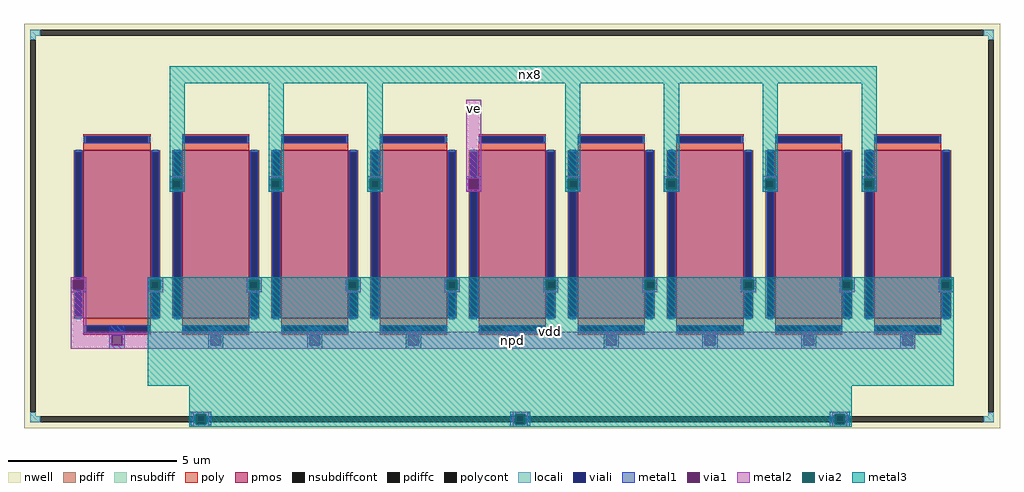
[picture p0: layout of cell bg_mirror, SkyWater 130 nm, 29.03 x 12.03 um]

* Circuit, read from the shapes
.subckt bg_mirror vdd npd ve nx8
XM1 vdd npd npd vdd sky130_fd_pr__pfet_01v8 w=5 l=2
XM2 vdd npd nx8 vdd sky130_fd_pr__pfet_01v8 w=5 l=2 m=7
XM3 vdd npd ve vdd sky130_fd_pr__pfet_01v8 w=5 l=2
.ends

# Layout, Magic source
magic
tech sky130A
magscale 1 2
<< viali >>
rect 455 -1117 545 -1083
rect 2355 -1117 2445 -1083
rect 4255 -1117 4345 -1083
<< metal1 >>
rect 314 330 404 345
rect 314 270 329 330
rect 389 270 404 330
rect 314 255 404 270
rect 902 330 992 345
rect 902 270 917 330
rect 977 270 992 330
rect 902 255 992 270
rect 1490 330 1580 345
rect 1490 270 1505 330
rect 1565 270 1580 330
rect 1490 255 1580 270
rect 2078 330 2168 345
rect 2078 270 2093 330
rect 2153 270 2168 330
rect 2078 255 2168 270
rect 2666 330 2756 345
rect 2666 270 2681 330
rect 2741 270 2756 330
rect 2666 255 2756 270
rect 3254 330 3344 345
rect 3254 270 3269 330
rect 3329 270 3344 330
rect 3254 255 3344 270
rect 3842 330 3932 345
rect 3842 270 3857 330
rect 3917 270 3932 330
rect 3842 255 3932 270
rect 4430 330 4520 345
rect 4430 270 4445 330
rect 4505 270 4520 330
rect 4430 255 4520 270
rect -274 -270 -184 -255
rect -274 -330 -259 -270
rect -199 -330 -184 -270
rect -274 -345 -184 -330
rect 184 -270 274 -255
rect 184 -330 199 -270
rect 259 -330 274 -270
rect 184 -345 274 -330
rect 772 -270 862 -255
rect 772 -330 787 -270
rect 847 -330 862 -270
rect 772 -345 862 -330
rect 1360 -270 1450 -255
rect 1360 -330 1375 -270
rect 1435 -330 1450 -270
rect 1360 -345 1450 -330
rect 1948 -270 2038 -255
rect 1948 -330 1963 -270
rect 2023 -330 2038 -270
rect 1948 -345 2038 -330
rect 2536 -270 2626 -255
rect 2536 -330 2551 -270
rect 2611 -330 2626 -270
rect 2536 -345 2626 -330
rect 3124 -270 3214 -255
rect 3124 -330 3139 -270
rect 3199 -330 3214 -270
rect 3124 -345 3214 -330
rect 3712 -270 3802 -255
rect 3712 -330 3727 -270
rect 3787 -330 3802 -270
rect 3712 -345 3802 -330
rect 4300 -270 4390 -255
rect 4300 -330 4315 -270
rect 4375 -330 4390 -270
rect 4300 -345 4390 -330
rect 4888 -270 4978 -255
rect 4888 -330 4903 -270
rect 4963 -330 4978 -270
rect 4888 -345 4978 -330
rect -45 -600 45 -541
rect -45 -660 -30 -600
rect 30 -660 45 -600
rect -45 -680 45 -660
rect 543 -600 633 -541
rect 543 -660 558 -600
rect 618 -660 633 -600
rect 543 -680 633 -660
rect 1131 -600 1221 -541
rect 1131 -660 1146 -600
rect 1206 -660 1221 -600
rect 1131 -680 1221 -660
rect 1719 -600 1809 -541
rect 1719 -660 1734 -600
rect 1794 -660 1809 -600
rect 1719 -680 1809 -660
rect 2307 -600 2397 -541
rect 2307 -660 2322 -600
rect 2382 -660 2397 -600
rect 2307 -680 2397 -660
rect 2895 -600 2985 -541
rect 2895 -660 2910 -600
rect 2970 -660 2985 -600
rect 2895 -680 2985 -660
rect 3483 -600 3573 -541
rect 3483 -660 3498 -600
rect 3558 -660 3573 -600
rect 3483 -680 3573 -660
rect 4071 -600 4161 -541
rect 4071 -660 4086 -600
rect 4146 -660 4161 -600
rect 4071 -680 4161 -660
rect 4659 -600 4749 -541
rect 4659 -660 4674 -600
rect 4734 -660 4749 -600
rect 4659 -680 4749 -660
rect 440 -1070 560 -1055
rect 440 -1083 470 -1070
rect 530 -1083 560 -1070
rect 440 -1117 455 -1083
rect 545 -1117 560 -1083
rect 440 -1130 470 -1117
rect 530 -1130 560 -1117
rect 440 -1145 560 -1130
rect 2340 -1070 2460 -1055
rect 2340 -1083 2370 -1070
rect 2430 -1083 2460 -1070
rect 2340 -1117 2355 -1083
rect 2445 -1117 2460 -1083
rect 2340 -1130 2370 -1117
rect 2430 -1130 2460 -1117
rect 2340 -1145 2460 -1130
rect 4240 -1070 4360 -1055
rect 4240 -1083 4270 -1070
rect 4330 -1083 4360 -1070
rect 4240 -1117 4255 -1083
rect 4345 -1117 4360 -1083
rect 4240 -1130 4270 -1117
rect 4330 -1130 4360 -1117
rect 4240 -1145 4360 -1130
<< via1 >>
rect 329 270 389 330
rect 917 270 977 330
rect 1505 270 1565 330
rect 2093 270 2153 330
rect 2681 270 2741 330
rect 3269 270 3329 330
rect 3857 270 3917 330
rect 4445 270 4505 330
rect -259 -330 -199 -270
rect 199 -330 259 -270
rect 787 -330 847 -270
rect 1375 -330 1435 -270
rect 1963 -330 2023 -270
rect 2551 -330 2611 -270
rect 3139 -330 3199 -270
rect 3727 -330 3787 -270
rect 4315 -330 4375 -270
rect 4903 -330 4963 -270
rect -30 -660 30 -600
rect 558 -660 618 -600
rect 1146 -660 1206 -600
rect 1734 -660 1794 -600
rect 2322 -660 2382 -600
rect 2910 -660 2970 -600
rect 3498 -660 3558 -600
rect 4086 -660 4146 -600
rect 4674 -660 4734 -600
rect 470 -1083 530 -1070
rect 470 -1117 530 -1083
rect 470 -1130 530 -1117
rect 2370 -1083 2430 -1070
rect 2370 -1117 2430 -1083
rect 2370 -1130 2430 -1117
rect 4270 -1083 4330 -1070
rect 4270 -1117 4330 -1083
rect 4270 -1130 4330 -1117
<< metal2 >>
rect 314 330 404 345
rect 314 270 329 330
rect 389 270 404 330
rect 314 255 404 270
rect 902 330 992 345
rect 902 270 917 330
rect 977 270 992 330
rect 902 255 992 270
rect 1490 330 1580 345
rect 1490 270 1505 330
rect 1565 270 1580 330
rect 1490 255 1580 270
rect 2078 330 2168 800
rect 2078 270 2093 330
rect 2153 270 2168 330
rect 2078 255 2168 270
rect 2666 330 2756 345
rect 2666 270 2681 330
rect 2741 270 2756 330
rect 2666 255 2756 270
rect 3254 330 3344 345
rect 3254 270 3269 330
rect 3329 270 3344 330
rect 3254 255 3344 270
rect 3842 330 3932 345
rect 3842 270 3857 330
rect 3917 270 3932 330
rect 3842 255 3932 270
rect 4430 330 4520 345
rect 4430 270 4445 330
rect 4505 270 4520 330
rect 4430 255 4520 270
rect -274 -270 -184 -255
rect -274 -330 -259 -270
rect -199 -330 -184 -270
rect -274 -580 -184 -330
rect 184 -270 274 -255
rect 184 -330 199 -270
rect 259 -330 274 -270
rect 184 -345 274 -330
rect 772 -270 862 -255
rect 772 -330 787 -270
rect 847 -330 862 -270
rect 772 -345 862 -330
rect 1360 -270 1450 -255
rect 1360 -330 1375 -270
rect 1435 -330 1450 -270
rect 1360 -345 1450 -330
rect 1948 -270 2038 -255
rect 1948 -330 1963 -270
rect 2023 -330 2038 -270
rect 1948 -345 2038 -330
rect 2536 -270 2626 -255
rect 2536 -330 2551 -270
rect 2611 -330 2626 -270
rect 2536 -345 2626 -330
rect 3124 -270 3214 -255
rect 3124 -330 3139 -270
rect 3199 -330 3214 -270
rect 3124 -345 3214 -330
rect 3712 -270 3802 -255
rect 3712 -330 3727 -270
rect 3787 -330 3802 -270
rect 3712 -345 3802 -330
rect 4300 -270 4390 -255
rect 4300 -330 4315 -270
rect 4375 -330 4390 -270
rect 4300 -345 4390 -330
rect 4888 -270 4978 -255
rect 4888 -330 4903 -270
rect 4963 -330 4978 -270
rect 4888 -345 4978 -330
rect -274 -600 4749 -580
rect -274 -660 -30 -600
rect 30 -660 558 -600
rect 618 -660 1146 -600
rect 1206 -660 1734 -600
rect 1794 -660 2322 -600
rect 2382 -660 2910 -600
rect 2970 -660 3498 -600
rect 3558 -660 4086 -600
rect 4146 -660 4674 -600
rect 4734 -660 4749 -600
rect -274 -680 4749 -660
rect 455 -1070 545 -1055
rect 455 -1130 470 -1070
rect 530 -1130 545 -1070
rect 455 -1145 545 -1130
rect 2355 -1070 2445 -1055
rect 2355 -1130 2370 -1070
rect 2430 -1130 2445 -1070
rect 2355 -1145 2445 -1130
rect 4255 -1070 4345 -1055
rect 4255 -1130 4270 -1070
rect 4330 -1130 4345 -1070
rect 4255 -1145 4345 -1130
<< via2 >>
rect 329 270 389 330
rect 917 270 977 330
rect 1505 270 1565 330
rect 2681 270 2741 330
rect 3269 270 3329 330
rect 3857 270 3917 330
rect 4445 270 4505 330
rect 199 -330 259 -270
rect 787 -330 847 -270
rect 1375 -330 1435 -270
rect 1963 -330 2023 -270
rect 2551 -330 2611 -270
rect 3139 -330 3199 -270
rect 3727 -330 3787 -270
rect 4315 -330 4375 -270
rect 4903 -330 4963 -270
rect 470 -1130 530 -1070
rect 2370 -1130 2430 -1070
rect 4270 -1130 4330 -1070
<< metal3 >>
rect 314 900 4520 1000
rect 314 330 404 900
rect 314 270 329 330
rect 389 270 404 330
rect 314 255 404 270
rect 902 330 992 900
rect 902 270 917 330
rect 977 270 992 330
rect 902 255 992 270
rect 1490 330 1580 900
rect 1490 270 1505 330
rect 1565 270 1580 330
rect 1490 255 1580 270
rect 2666 330 2756 900
rect 2666 270 2681 330
rect 2741 270 2756 330
rect 2666 255 2756 270
rect 3254 330 3344 900
rect 3254 270 3269 330
rect 3329 270 3344 330
rect 3254 255 3344 270
rect 3842 330 3932 900
rect 3842 270 3857 330
rect 3917 270 3932 330
rect 3842 255 3932 270
rect 4430 330 4520 900
rect 4430 270 4445 330
rect 4505 270 4520 330
rect 4430 255 4520 270
rect 184 -270 4978 -255
rect 184 -330 199 -270
rect 259 -330 787 -270
rect 847 -330 1375 -270
rect 1435 -330 1963 -270
rect 2023 -330 2551 -270
rect 2611 -330 3139 -270
rect 3199 -330 3727 -270
rect 3787 -330 4315 -270
rect 4375 -330 4903 -270
rect 4963 -330 4978 -270
rect 184 -900 4978 -330
rect 430 -1070 4370 -900
rect 430 -1130 470 -1070
rect 530 -1130 2370 -1070
rect 2430 -1130 4270 -1070
rect 4330 -1130 4370 -1070
rect 430 -1145 4370 -1130
use unit_p5_l2  u_A4
transform 1 0 2352 0 1 0
box -294 -600 294 600
use unit_p5_l2  u_B1
transform 1 0 588 0 1 0
box -294 -600 294 600
use unit_p5_l2  u_B2
transform 1 0 1176 0 1 0
box -294 -600 294 600
use unit_p5_l2  u_B3
transform 1 0 1764 0 1 0
box -294 -600 294 600
use unit_p5_l2  u_B5
transform 1 0 2940 0 1 0
box -294 -600 294 600
use unit_p5_l2  u_B6
transform 1 0 3528 0 1 0
box -294 -600 294 600
use unit_p5_l2  u_B7
transform 1 0 4116 0 1 0
box -294 -600 294 600
use unit_p5_l2  u_B8
transform 1 0 4704 0 1 0
box -294 -600 294 600
use unit_p5_l2  u_D0
transform 1 0 0 0 1 0
box -294 -600 294 600
use nwell_ring_bg  u_ring
transform 1 0 0 0 1 0
box -553 -1153 5253 1253
<< labels >>
rlabel metal3 2581 -578 2581 -578 0 vdd
port 1 nsew
rlabel metal2 2352 -630 2352 -630 0 npd
port 2 nsew
rlabel metal2 2123 750 2123 750 0 ve
port 3 nsew
rlabel metal3 2459 950 2459 950 0 nx8
port 4 nsew
<< end >>

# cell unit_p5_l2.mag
magic
tech sky130A
magscale 1 2
<< nwell >>
rect -294 -600 294 600
<< pmos >>
rect -200 -500 200 500
<< pdiff >>
rect -258 488 -200 500
rect -258 -488 -246 488
rect -212 -488 -200 488
rect -258 -500 -200 -488
rect 200 488 258 500
rect 200 -488 212 488
rect 246 -488 258 488
rect 200 -500 258 -488
<< pdiffc >>
rect -246 -488 -212 488
rect 212 -488 246 488
<< poly >>
rect -200 581 200 597
rect -200 547 -184 581
rect 184 547 200 581
rect -200 500 200 547
rect -200 -547 200 -500
rect -200 -581 -184 -547
rect 184 -581 200 -547
rect -200 -597 200 -581
<< polycont >>
rect -184 547 184 581
rect -184 -581 184 -547
<< locali >>
rect -200 547 -184 581
rect 184 547 200 581
rect -246 488 -212 504
rect -246 -504 -212 -488
rect 212 488 246 504
rect 212 -504 246 -488
rect -200 -581 -184 -547
rect 184 -581 200 -547
<< viali >>
rect -184 547 184 581
rect -246 -488 -212 488
rect 212 -488 246 488
rect -184 -581 184 -547
<< metal1 >>
rect -196 581 196 587
rect -196 547 -184 581
rect 184 547 196 581
rect -196 541 196 547
rect -252 488 -206 500
rect -252 -488 -246 488
rect -212 -488 -206 488
rect -252 -500 -206 -488
rect 206 488 252 500
rect 206 -488 212 488
rect 246 -488 252 488
rect 206 -500 252 -488
rect -196 -547 196 -541
rect -196 -581 -184 -547
rect 184 -581 196 -547
rect -196 -587 196 -581
<< labels >>
rlabel pdiffc -229 0 -229 0 0 D
port 1 nsew
rlabel pdiffc 229 0 229 0 0 S
port 2 nsew
rlabel polycont 0 564 0 564 0 G
port 3 nsew
<< end >>

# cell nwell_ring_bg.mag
magic
tech sky130A
magscale 1 2
<< nwell >>
rect -553 -1153 5253 1253
<< nsubdiff >>
rect -517 1183 -457 1217
rect 5157 1183 5217 1217
rect -517 1157 -483 1183
rect -517 -1083 -483 -1057
rect 5183 1157 5217 1183
rect 5183 -1083 5217 -1057
rect -517 -1117 -457 -1083
rect 5157 -1117 5217 -1083
<< nsubdiffcont >>
rect -457 1183 5157 1217
rect -517 -1057 -483 1157
rect 5183 -1057 5217 1157
rect -457 -1117 5157 -1083
<< locali >>
rect -517 1183 -457 1217
rect 5157 1183 5217 1217
rect -517 1157 -483 1183
rect -517 -1083 -483 -1057
rect 5183 1157 5217 1183
rect 5183 -1083 5217 -1057
rect -517 -1117 -457 -1083
rect 5157 -1117 5217 -1083
<< end >>
